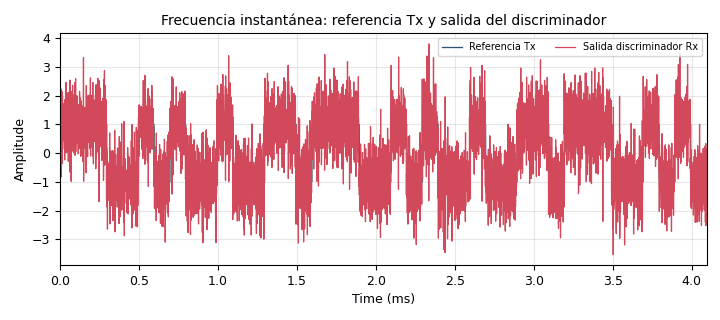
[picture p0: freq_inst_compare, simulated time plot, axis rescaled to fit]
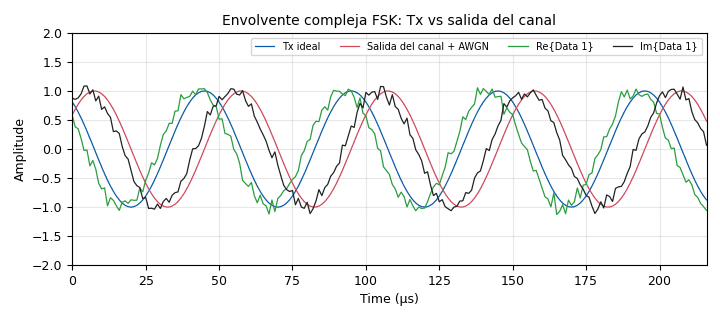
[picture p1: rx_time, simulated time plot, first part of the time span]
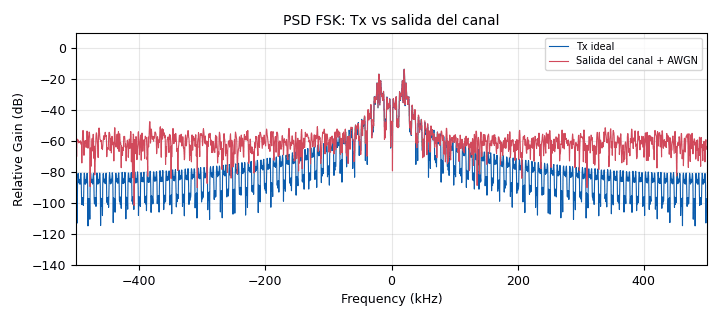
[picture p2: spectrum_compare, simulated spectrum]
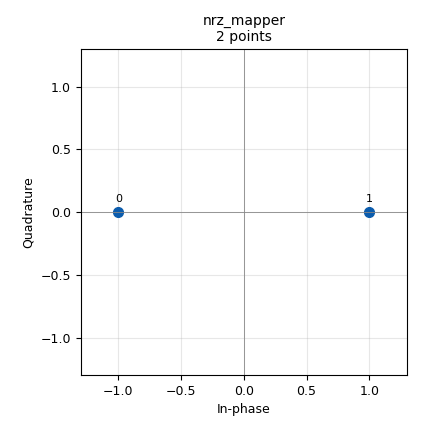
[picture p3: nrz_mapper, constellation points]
options:
  parameters:
    description: 'Base de continuidad FSK: generacion, modulacion, canal AWGN y discriminacion de frecuencia como primer bloque del receptor. No incluye filtrado de decision, muestreo ni slicer.'
    generate_options: qt_gui
    id: Guia2_BASE_FSK_Canal_Discriminador
    output_language: python
    title: 'Guia2 - Base FSK: canal y entrada al receptor'
  states: {}

blocks:
- name: Rb
  id: variable
  parameters:
    value: symbol_rate
  states: {}
- name: fsk_deviation
  id: variable_qtgui_range
  parameters:
    label: Desviación FSK (Hz)
    start: '5000'
    step: '1000'
    stop: '100000'
    value: '20000'
  states: {}
- name: h_fsk
  id: variable
  parameters:
    value: 2*fsk_deviation/symbol_rate
  states: {}
- name: noise_voltage
  id: variable_qtgui_range
  parameters:
    label: Noise voltage
    start: '0.0'
    step: '0.01'
    stop: '1.0'
    value: '0.1'
  states: {}
- name: samp_rate
  id: variable
  parameters:
    value: 1e6
  states: {}
- name: sps
  id: variable
  parameters:
    value: '100'
  states: {}
- name: symbol_rate
  id: variable
  parameters:
    value: samp_rate/sps
  states: {}
- name: bit_source
  id: blocks_vector_source_x
  parameters:
    repeat: 'True'
    type: byte
    vector: '[0,1,0,0,1,1,0,1,1,1,0,0,1,0,1,0]'
  states: {}
- name: channel_awgn
  id: channels_channel_model
  parameters:
    block_tags: 'True'
    epsilon: '1.0'
    freq_offset: '0.0'
    noise_voltage: noise_voltage
    seed: '0'
    taps: 1.0 + 0.0j
  states: {}
- name: discriminador_frecuencia_rx
  id: analog_quadrature_demod_cf
  parameters:
    gain: samp_rate/(2*math.pi*fsk_deviation)
  states: {}
- name: freq_inst_compare
  id: qtgui_time_sink_x
  parameters:
    grid: 'True'
    label1: Referencia Tx
    label2: Salida discriminador Rx
    name: '"Frecuencia instantánea: referencia Tx y salida del discriminador"'
    nconnections: '2'
    size: '4096'
    srate: samp_rate
    type: float
    ymax: '2'
    ymin: '-2'
  states: {}
- name: fsk_modulator
  id: analog_frequency_modulator_fc
  parameters:
    sensitivity: 2*math.pi*fsk_deviation/samp_rate
  states: {}
- name: nrz_mapper
  id: digital_chunks_to_symbols_xx
  parameters:
    dimension: '1'
    in_type: byte
    out_type: float
    symbol_table: '[-1.0, 1.0]'
  states: {}
- name: observador_frecuencia_tx
  id: analog_quadrature_demod_cf
  parameters:
    gain: samp_rate/(2*math.pi*fsk_deviation)
  states: {}
- name: rx_time
  id: qtgui_time_sink_x
  parameters:
    grid: 'True'
    label1: Tx ideal
    label2: Salida del canal + AWGN
    label3: ''
    label4: ''
    name: '"Envolvente compleja FSK: Tx vs salida del canal"'
    nconnections: '2'
    size: '4096'
    srate: samp_rate
    type: complex
    ymax: '2'
    ymin: '-2'
  states: {}
- name: spectrum_compare
  id: qtgui_freq_sink_x
  parameters:
    bw: samp_rate
    fc: '0'
    fftsize: '2048'
    grid: 'True'
    label1: Tx ideal
    label2: Salida del canal + AWGN
    name: '"PSD FSK: Tx vs salida del canal"'
    nconnections: '2'
    type: complex
  states: {}
- name: symbol_repeat
  id: blocks_repeat
  parameters:
    interp: sps
    type: float
  states: {}
- name: throttle
  id: blocks_throttle2
  parameters:
    samples_per_second: samp_rate
    type: complex
  states: {}

connections:
- [bit_source, '0', nrz_mapper, '0']
- [channel_awgn, '0', discriminador_frecuencia_rx, '0']
- [channel_awgn, '0', rx_time, '1']
- [channel_awgn, '0', spectrum_compare, '1']
- [discriminador_frecuencia_rx, '0', freq_inst_compare, '1']
- [fsk_modulator, '0', throttle, '0']
- [nrz_mapper, '0', symbol_repeat, '0']
- [observador_frecuencia_tx, '0', freq_inst_compare, '0']
- [symbol_repeat, '0', fsk_modulator, '0']
- [throttle, '0', channel_awgn, '0']
- [throttle, '0', observador_frecuencia_tx, '0']
- [throttle, '0', rx_time, '0']
- [throttle, '0', spectrum_compare, '0']

metadata:
  file_format: 1
  grc_version: 3.10.12.0
